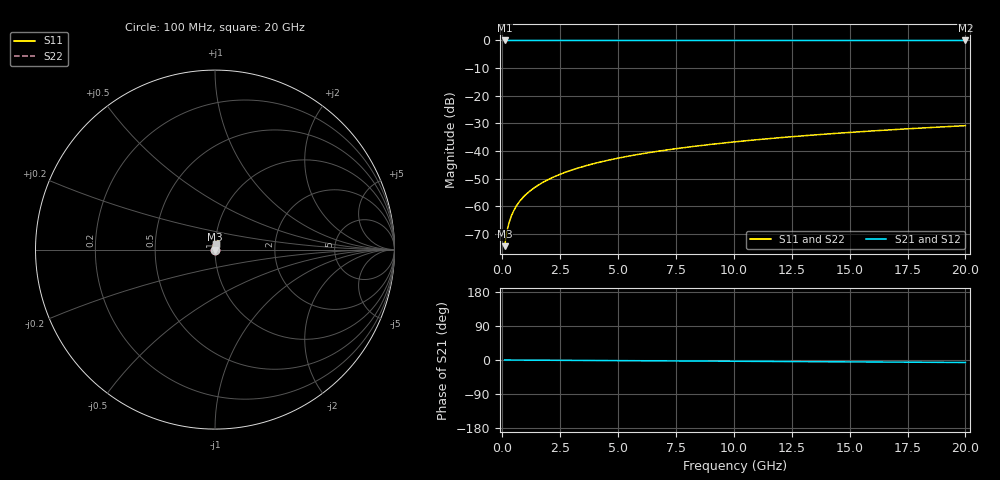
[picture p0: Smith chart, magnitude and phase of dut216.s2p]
! Touchstone file exported from HFSS 2026.1.0
!  File:  C:/ffzhzh/LocalFiles/Ansys_Project_Files/temp_train_TSV_216_1782992094_45328.aedt
!  Generated:  07:36:19 PM Jul  2, 2026
!  Design:  TSV
!  Project:  temp_train_TSV_216_1782992094_45328
! Variables:
!  h_bsmrdl = 2um
!  h_ox = 20um
!  h_rdl = 5um
!  h_sub = 56.14um
!  h_tmrdl = 5um
!  h_tsv = 56.14um
!  h_via = 3um
!  l_bsmrdl = 300um
!  l_sub = 422.66um
!  l_tmrdl = 200um
!  m_sub = 200um
!  pitch = 59.95um
!  r_tsv = 11.33um
!  s_tmrdl = 10um
!  w_bsmrdl = 18um
!  w_sub = 500um
!  w_tmrdl = 12um
!  x_tsv_center1 = 206um
!  x_tsv_center2 = 524um
!  x_tsv_center3 = 736um
!  x_tsv_center4 = 1054um
!  x_tsv_center5 = 1266um
!  x_tsv_center6 = 1584um
# GHz S MA R 50.000000
! Terminal data exported
! Port[1] = TSV1_1_T1
! Port[2] = TSV1_1_T2
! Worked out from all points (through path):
!   200 points, 100 MHz to 20 GHz, reference 50 ohm
!   highest |S21| = 0.00 dB at 100 MHz (marker M1); lowest = 0.0 dB at 20 GHz (marker M2)
!   lowest |S11| = -74.3 dB at 100 MHz (marker M3), VSWR 1.00, Z = 50 + j0.0174 ohm
!   |S11| at or under -10 dB: start of sweep to end of sweep
!   |S22| runs from -74.3 to -30.8 dB; largest |S21 - S12| = 2.2e-15
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0.1  0.0001918 65.2  0.9999 -0.0  0.9999 -0.0  0.0001918 65.2
! Gamma 0 0 0 0
! Port Impedance 50 0 50 0
0.2  0.0003574 75.6  0.9999 -0.1  0.9999 -0.1  0.0003574 75.6
0.3  0.0005249 78.8  0.9999 -0.1  0.9999 -0.1  0.0005249 78.8
0.4  0.0006896 80.2  0.9999 -0.1  0.9999 -0.1  0.0006896 80.2
0.5  0.0008508 80.9  0.9999 -0.2  0.9999 -0.2  0.0008508 80.9
0.6  0.001008 81.3  0.9999 -0.2  0.9999 -0.2  0.001008 81.3
0.7  0.001163 81.7  0.9998 -0.2  0.9998 -0.2  0.001163 81.7
0.9  0.001466 82.2  0.9998 -0.3  0.9998 -0.3  0.001466 82.2
1.1  0.001764 82.7  0.9998 -0.4  0.9998 -0.4  0.001764 82.7
1.3  0.002059 83.1  0.9998 -0.4  0.9998 -0.4  0.002059 83.1
1.6  0.0025 83.6  0.9997 -0.5  0.9997 -0.5  0.0025 83.6
1.9  0.002941 84.0  0.9997 -0.6  0.9997 -0.6  0.002941 84.0
2.6  0.003969 84.6  0.9997 -0.9  0.9997 -0.9  0.003969 84.6
3.5  0.005288 85.0  0.9996 -1.2  0.9996 -1.2  0.005288 85.0
4.2  0.006309 85.1  0.9996 -1.4  0.9996 -1.4  0.006309 85.1
5  0.007473 85.1  0.9995 -1.7  0.9995 -1.7  0.007473 85.1
6.8  0.01007 84.9  0.9995 -2.2  0.9995 -2.2  0.01007 84.9
8.3  0.01223 84.7  0.9994 -2.7  0.9994 -2.7  0.01223 84.7
10.1  0.01481 84.3  0.9993 -3.3  0.9993 -3.3  0.01481 84.3
13.4  0.01951 83.5  0.9991 -4.4  0.9991 -4.4  0.01951 83.5
16.7  0.02419 82.7  0.9989 -5.5  0.9989 -5.5  0.02419 82.7
20  0.02884 81.7  0.9987 -6.6  0.9987 -6.6  0.02884 81.7
